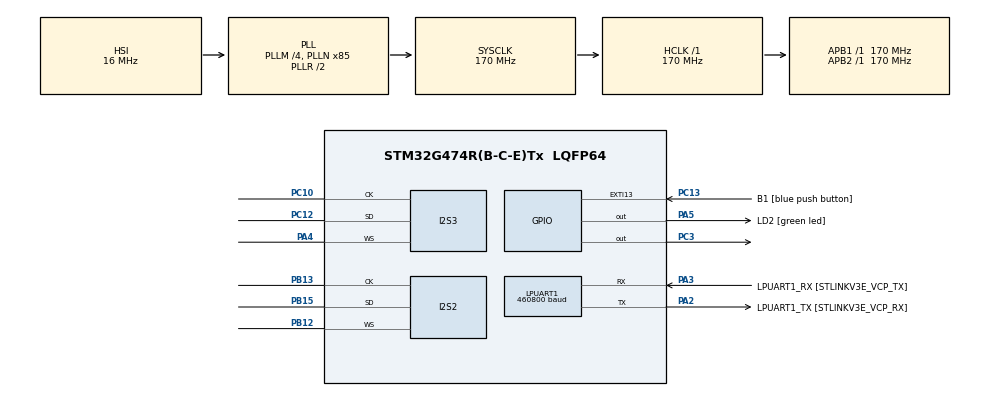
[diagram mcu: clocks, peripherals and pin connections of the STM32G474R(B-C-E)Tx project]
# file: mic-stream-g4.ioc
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Dma.LPUART1_TX.1.Direction=DMA_MEMORY_TO_PERIPH
Dma.LPUART1_TX.1.EventEnable=DISABLE
Dma.LPUART1_TX.1.Instance=DMA1_Channel2
Dma.LPUART1_TX.1.MemDataAlignment=DMA_MDATAALIGN_BYTE
Dma.LPUART1_TX.1.MemInc=DMA_MINC_ENABLE
Dma.LPUART1_TX.1.Mode=DMA_NORMAL
Dma.LPUART1_TX.1.PeriphDataAlignment=DMA_PDATAALIGN_BYTE
Dma.LPUART1_TX.1.PeriphInc=DMA_PINC_DISABLE
Dma.LPUART1_TX.1.Polarity=HAL_DMAMUX_REQ_GEN_RISING
Dma.LPUART1_TX.1.Priority=DMA_PRIORITY_LOW
Dma.LPUART1_TX.1.RequestNumber=1
Dma.LPUART1_TX.1.SignalID=NONE
Dma.LPUART1_TX.1.SyncEnable=DISABLE
Dma.LPUART1_TX.1.SyncPolarity=HAL_DMAMUX_SYNC_NO_EVENT
Dma.LPUART1_TX.1.SyncRequestNumber=1
Dma.LPUART1_TX.1.SyncSignalID=NONE
Dma.Request0=SPI2_RX
Dma.Request1=LPUART1_TX
Dma.Request2=SPI3_TX
Dma.SPI2_RX.0.Direction=DMA_PERIPH_TO_MEMORY
Dma.SPI2_RX.0.EventEnable=DISABLE
Dma.SPI2_RX.0.Instance=DMA1_Channel1
Dma.SPI2_RX.0.MemDataAlignment=DMA_MDATAALIGN_HALFWORD
Dma.SPI2_RX.0.MemInc=DMA_MINC_ENABLE
Dma.SPI2_RX.0.Mode=DMA_CIRCULAR
Dma.SPI2_RX.0.PeriphDataAlignment=DMA_PDATAALIGN_HALFWORD
Dma.SPI2_RX.0.PeriphInc=DMA_PINC_DISABLE
Dma.SPI2_RX.0.Polarity=HAL_DMAMUX_REQ_GEN_RISING
Dma.SPI2_RX.0.Priority=DMA_PRIORITY_LOW
Dma.SPI2_RX.0.RequestNumber=1
Dma.SPI2_RX.0.SignalID=NONE
Dma.SPI2_RX.0.SyncEnable=DISABLE
Dma.SPI2_RX.0.SyncPolarity=HAL_DMAMUX_SYNC_NO_EVENT
Dma.SPI2_RX.0.SyncRequestNumber=1
Dma.SPI2_RX.0.SyncSignalID=NONE
Dma.SPI3_TX.2.Direction=DMA_MEMORY_TO_PERIPH
Dma.SPI3_TX.2.EventEnable=DISABLE
Dma.SPI3_TX.2.Instance=DMA1_Channel3
Dma.SPI3_TX.2.MemDataAlignment=DMA_MDATAALIGN_HALFWORD
Dma.SPI3_TX.2.MemInc=DMA_MINC_ENABLE
Dma.SPI3_TX.2.Mode=DMA_CIRCULAR
Dma.SPI3_TX.2.PeriphDataAlignment=DMA_PDATAALIGN_HALFWORD
Dma.SPI3_TX.2.PeriphInc=DMA_PINC_DISABLE
Dma.SPI3_TX.2.Polarity=HAL_DMAMUX_REQ_GEN_RISING
Dma.SPI3_TX.2.Priority=DMA_PRIORITY_LOW
Dma.SPI3_TX.2.RequestNumber=1
Dma.SPI3_TX.2.SignalID=NONE
Dma.SPI3_TX.2.SyncEnable=DISABLE
Dma.SPI3_TX.2.SyncPolarity=HAL_DMAMUX_SYNC_NO_EVENT
Dma.SPI3_TX.2.SyncRequestNumber=1
Dma.SPI3_TX.2.SyncSignalID=NONE
I2S2.AudioFreq=I2S_AUDIOFREQ_32K
I2S2.CPOL=I2S_CPOL_LOW
I2S2.DataFormat=I2S_DATAFORMAT_16B_EXTENDED
I2S2.ErrorAudioFreq=0.0 %
I2S2.FullDuplexMode=I2S_FULLDUPLEXMODE_DISABLE
I2S2.Instance=SPI$Index
I2S2.Mode=I2S_MODE_MASTER_RX
I2S2.RealAudioFreq=32.003 KHz
I2S2.Standard=I2S_STANDARD_PHILIPS
I2S2.VirtualMode=I2S_MODE_MASTER
I2S3.AudioFreq=I2S_AUDIOFREQ_32K
I2S3.CPOL=I2S_CPOL_LOW
I2S3.DataFormat=I2S_DATAFORMAT_16B_EXTENDED
I2S3.ErrorAudioFreq=0.0 %
I2S3.FullDuplexMode=I2S_FULLDUPLEXMODE_DISABLE
I2S3.Instance=SPI$Index
I2S3.RealAudioFreq=32.003 KHz
I2S3.Standard=I2S_STANDARD_PHILIPS
I2S3.VirtualMode=I2S_MODE_MASTER
LPUART1.BaudRate=460800
LPUART1.Mode=UART_MODE_TX_RX
Mcu.Family=STM32G4
Mcu.Name=STM32G474R(B-C-E)Tx
Mcu.Package=LQFP64
NVIC.DMA1_Channel1_IRQn=true\:0\:0\:false\:false\:true\:false\:true\:true
NVIC.DMA1_Channel2_IRQn=true\:0\:0\:false\:false\:true\:false\:true\:true
NVIC.DMA1_Channel3_IRQn=true\:0\:0\:false\:false\:true\:false\:true\:true
NVIC.EXTI15_10_IRQn=true\:0\:0\:false\:false\:true\:true\:true\:true
NVIC.LPUART1_IRQn=true\:0\:0\:false\:false\:true\:true\:true\:true
NVIC.PriorityGroup=NVIC_PRIORITYGROUP_4
PA13.GPIO_Label=T_SWDIO
PA13.Signal=SYS_JTMS-SWDIO
PA14.GPIO_Label=T_SWCLK
PA14.Signal=SYS_JTCK-SWCLK
PA2.GPIO_Label=LPUART1_TX [STLINKV3E_VCP_RX]
PA2.Mode=Asynchronous
PA2.Signal=LPUART1_TX
PA3.GPIO_Label=LPUART1_RX [STLINKV3E_VCP_TX]
PA3.Mode=Asynchronous
PA3.Signal=LPUART1_RX
PA4.Mode=Half_Duplex_Master
PA4.Signal=I2S3_WS
PA5.GPIO_Label=LD2 [green led]
PA5.Signal=GPIO_Output
PB12.Mode=Half_Duplex_Master
PB12.Signal=I2S2_WS
PB13.Mode=Half_Duplex_Master
PB13.Signal=I2S2_CK
PB15.Mode=Half_Duplex_Master
PB15.Signal=I2S2_SD
PB3.GPIO_Label=T_SWO
PB3.Signal=SYS_JTDO-SWO
PC10.Mode=Half_Duplex_Master
PC10.Signal=I2S3_CK
PC12.Mode=Half_Duplex_Master
PC12.Signal=I2S3_SD
PC13.GPIO_Label=B1 [blue push button]
PC13.Signal=GPXTI13
PC14-OSC32_IN.Signal=RCC_OSC32_IN
PC15-OSC32_OUT.Signal=RCC_OSC32_OUT
PC3.Signal=GPIO_Output
PF0-OSC_IN.Signal=RCC_OSC_IN
PF1-OSC_OUT.Signal=RCC_OSC_OUT
ProjectManager.HeapSize=0x200
ProjectManager.StackSize=0x400
ProjectManager.TargetToolchain=STM32CubeIDE
RCC.ADC12Freq_Value=170000000
RCC.ADC345Freq_Value=170000000
RCC.AHBFreq_Value=170000000
RCC.APB1Freq_Value=170000000
RCC.APB1TimFreq_Value=170000000
RCC.APB2Freq_Value=170000000
RCC.APB2TimFreq_Value=170000000
RCC.CortexFreq_Value=170000000
RCC.EXTERNAL_CLOCK_VALUE=12288000
RCC.HCLKFreq_Value=170000000
RCC.HSE_VALUE=24000000
RCC.HSI48_VALUE=48000000
RCC.HSI_VALUE=16000000
RCC.LSE_VALUE=32768
RCC.PLLM=RCC_PLLM_DIV4
RCC.PLLN=85
RCC.RTCClockSelection=RCC_RTCCLKSOURCE_LSE
RCC.SYSCLKFreq_VALUE=170000000
RCC.SYSCLKSource=RCC_SYSCLKSOURCE_PLLCLK
RCC.USBFreq_Value=170000000
RCC.VCOOutputFreq_Value=340000000
STMicroelectronics.X-CUBE-ALGOBUILD.1.3.0.LibraryCcDSPOoLibraryJjDSPOoLibrary=true
VP_STMicroelectronics.X-CUBE-ALGOBUILD_VS_DSPOoLibraryJjLibrary_1.3.0_1.3.0.Mode=DSPOoLibraryJjLibrary
VP_SYS_VS_DBSignals.Mode=DisableDeadBatterySignals
board=NUCLEO-G474RE

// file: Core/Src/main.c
/* USER CODE BEGIN Header */
/**
  ******************************************************************************
  * @file           : main.c
  * @brief          : Main program body
  ******************************************************************************
  * @attention
  *
  * Copyright (c) 2023 STMicroelectronics.
  * All rights reserved.
  *
  * This software is licensed under terms that can be found in the LICENSE file
  * in the root directory of this software component.
  * If no LICENSE file comes with this software, it is provided AS-IS.
  *
  ******************************************************************************
  */
/* USER CODE END Header */
#include "main.h"

/* USER CODE BEGIN Includes */
#define ARM_MATH_CM4
#include "stdio.h"
#include "arm_math.h"
/* USER CODE END Includes */

/* USER CODE BEGIN PD */
#define SAMPLE_SIZE 1280
#define F_SAMPLE 48295
#define FREQUENCY_PARTITIONS SAMPLE_SIZE/16
/* USER CODE END PD */

I2S_HandleTypeDef hi2s2;
I2S_HandleTypeDef hi2s3;
DMA_HandleTypeDef hdma_spi2_rx;
DMA_HandleTypeDef hdma_spi3_tx;

UART_HandleTypeDef hlpuart1;
DMA_HandleTypeDef hdma_lpuart1_tx;

/* USER CODE BEGIN PV */
int16_t i2s_rxBuf[SAMPLE_SIZE];
uint16_t i2s_txBuf[SAMPLE_SIZE];

uint8_t streamBuf[SAMPLE_SIZE/2];
int16_t dataBuf[SAMPLE_SIZE/4];

float32_t fft_in_buf[SAMPLE_SIZE/8];
float32_t fft_out_buf[SAMPLE_SIZE/8];
uint8_t data_out_buf[12]; //10 frequency bins, 1 start byte, 1 stop byte
arm_rfft_fast_instance_f32 fft_handler;

volatile uint8_t rxBuf_status = 0; // 0 = empty, 1 = half, 2 = full
volatile int debug_sample_i2s;
/* USER CODE END PV */

void SystemClock_Config(void);
static void MX_GPIO_Init(void);
static void MX_DMA_Init(void);
static void MX_I2S2_Init(void);
static void MX_LPUART1_UART_Init(void);
static void MX_I2S3_Init(void);
/* USER CODE BEGIN PFP */
float32_t complexABS(float32_t real, float32_t imag);
void DoFFT();
/* USER CODE END PFP */

int main(void)
{

  /* MCU Configuration--------------------------------------------------------*/

  /* Reset of all peripherals, Initializes the Flash interface and the Systick. */
  HAL_Init();

  /* Configure the system clock */
  SystemClock_Config();

  /* Initialize all configured peripherals */
  MX_GPIO_Init();
  MX_DMA_Init();
  MX_I2S2_Init();
  MX_LPUART1_UART_Init();
  MX_I2S3_Init();
  /* USER CODE BEGIN 2 */
  HAL_I2S_Receive_DMA(&hi2s2, (uint16_t *)i2s_rxBuf, SAMPLE_SIZE);
  HAL_I2S_Transmit_DMA(&hi2s3, (uint16_t *)i2s_txBuf, SAMPLE_SIZE);
  arm_rfft_fast_init_f32(&fft_handler, SAMPLE_SIZE/8);
  uint8_t prev_rxBuf_status = 0;
  /* USER CODE END 2 */

  /* Infinite loop */
  while (1)
  {

    /* USER CODE BEGIN 3 */
	  int streamBuf_ptr = 0;
	  int dataBuf_ptr = 0;

	  if(rxBuf_status == 1){
//		  if(prev_rxBuf_status == 1) exit(1); // DEBUG DOUBLING
//		  printf("rxBuf half\n");  // DEBUG PRINTMSG

		  /* READ IN MICROPHONE DATA */
		  for(int i = 0; i < SAMPLE_SIZE/2; i = i+2){
			    i2s_txBuf[i] = i2s_rxBuf[i]; // DEBUG DIRECT DATA TRANSFER
			  	streamBuf[streamBuf_ptr] = (i2s_rxBuf[i] >> 8) & 0xff;
				streamBuf[streamBuf_ptr + 1] = i2s_rxBuf[i] & 0xff;
				dataBuf[dataBuf_ptr] = i2s_rxBuf[i];
		  		++dataBuf_ptr;
		  		streamBuf_ptr = streamBuf_ptr + 2;
//		  		debug_sample_i2s = i2s_rxBuf[i]; // DEBUG READ DATA
		  }

		  /* SEND MICROPHONE DATA OVER SERIAL FOR ANALYSIS */
//		  HAL_UART_Transmit_DMA(&hlpuart1, (uint8_t *)streamBuf, SAMPLE_SIZE/2);

		  /* SET FLAGS */
		  rxBuf_status = 0;
		  prev_rxBuf_status = 1;
	  }
	  else if (rxBuf_status == 2){
//		  if(prev_rxBuf_status == 2) exit(1); // DEBUG DOUBLING
//		  printf("rxBuf full\n"); // DEBUG PRINTMSG

		  /* READ IN MICROPHONE DATA */
		  for(int i = SAMPLE_SIZE/2; i < SAMPLE_SIZE; i = i+2){
			  	i2s_txBuf[i] = i2s_rxBuf[i]; // DEBUG DIRECT DATA TRANSFER
			    streamBuf[streamBuf_ptr] = (i2s_rxBuf[i] >> 8) & 0xff;
			    streamBuf[streamBuf_ptr + 1] = i2s_rxBuf[i] & 0xff;
			    dataBuf[dataBuf_ptr] = i2s_rxBuf[i];
				++dataBuf_ptr;
				streamBuf_ptr = streamBuf_ptr + 2;
//				debug_sample_i2s = i2s_rxBuf[i]; // DEBUG READ DATA
		  }

		  /* SEND MICROPHONE DATA OVER SERIAL FOR ANALYSIS */
//		  HAL_UART_Transmit_DMA(&hlpuart1, (uint8_t *)streamBuf, SAMPLE_SIZE/2);

		  /* SET FLAGS */
		  rxBuf_status = 0;
		  prev_rxBuf_status = 2;
	  }
  }
  /* USER CODE END 3 */
}

void SystemClock_Config(void)
{
  RCC_OscInitTypeDef RCC_OscInitStruct = {0};
  RCC_ClkInitTypeDef RCC_ClkInitStruct = {0};

  /** Configure the main internal regulator output voltage
  */
  HAL_PWREx_ControlVoltageScaling(PWR_REGULATOR_VOLTAGE_SCALE1_BOOST);

  /** Initializes the RCC Oscillators according to the specified parameters
  * in the RCC_OscInitTypeDef structure.
  */
  RCC_OscInitStruct.OscillatorType = RCC_OSCILLATORTYPE_HSI;
  RCC_OscInitStruct.HSIState = RCC_HSI_ON;
  RCC_OscInitStruct.HSICalibrationValue = RCC_HSICALIBRATION_DEFAULT;
  RCC_OscInitStruct.PLL.PLLState = RCC_PLL_ON;
  RCC_OscInitStruct.PLL.PLLSource = RCC_PLLSOURCE_HSI;
  RCC_OscInitStruct.PLL.PLLM = RCC_PLLM_DIV4;
  RCC_OscInitStruct.PLL.PLLN = 85;
  RCC_OscInitStruct.PLL.PLLP = RCC_PLLP_DIV2;
  RCC_OscInitStruct.PLL.PLLQ = RCC_PLLQ_DIV2;
  RCC_OscInitStruct.PLL.PLLR = RCC_PLLR_DIV2;
  if (HAL_RCC_OscConfig(&RCC_OscInitStruct) != HAL_OK)
  {
    Error_Handler();
  }

  /** Initializes the CPU, AHB and APB buses clocks
  */
  RCC_ClkInitStruct.ClockType = RCC_CLOCKTYPE_HCLK|RCC_CLOCKTYPE_SYSCLK
                              |RCC_CLOCKTYPE_PCLK1|RCC_CLOCKTYPE_PCLK2;
  RCC_ClkInitStruct.SYSCLKSource = RCC_SYSCLKSOURCE_PLLCLK;
  RCC_ClkInitStruct.AHBCLKDivider = RCC_SYSCLK_DIV1;
  RCC_ClkInitStruct.APB1CLKDivider = RCC_HCLK_DIV1;
  RCC_ClkInitStruct.APB2CLKDivider = RCC_HCLK_DIV1;

  if (HAL_RCC_ClockConfig(&RCC_ClkInitStruct, FLASH_LATENCY_4) != HAL_OK)
  {
    Error_Handler();
  }
}

static void MX_I2S2_Init(void)
{

  hi2s2.Instance = SPI2;
  hi2s2.Init.Mode = I2S_MODE_MASTER_RX;
  hi2s2.Init.Standard = I2S_STANDARD_PHILIPS;
  hi2s2.Init.DataFormat = I2S_DATAFORMAT_16B_EXTENDED;
  hi2s2.Init.MCLKOutput = I2S_MCLKOUTPUT_DISABLE;
  hi2s2.Init.AudioFreq = I2S_AUDIOFREQ_32K;
  hi2s2.Init.CPOL = I2S_CPOL_LOW;
  if (HAL_I2S_Init(&hi2s2) != HAL_OK)
  {
    Error_Handler();
  }

}

static void MX_I2S3_Init(void)
{

  hi2s3.Instance = SPI3;
  hi2s3.Init.Mode = I2S_MODE_MASTER_TX;
  hi2s3.Init.Standard = I2S_STANDARD_PHILIPS;
  hi2s3.Init.DataFormat = I2S_DATAFORMAT_16B_EXTENDED;
  hi2s3.Init.MCLKOutput = I2S_MCLKOUTPUT_DISABLE;
  hi2s3.Init.AudioFreq = I2S_AUDIOFREQ_32K;
  hi2s3.Init.CPOL = I2S_CPOL_LOW;
  if (HAL_I2S_Init(&hi2s3) != HAL_OK)
  {
    Error_Handler();
  }

}

static void MX_LPUART1_UART_Init(void)
{

  hlpuart1.Instance = LPUART1;
  hlpuart1.Init.BaudRate = 460800;
  hlpuart1.Init.WordLength = UART_WORDLENGTH_8B;
  hlpuart1.Init.StopBits = UART_STOPBITS_1;
  hlpuart1.Init.Parity = UART_PARITY_NONE;
  hlpuart1.Init.Mode = UART_MODE_TX_RX;
  hlpuart1.Init.HwFlowCtl = UART_HWCONTROL_NONE;
  hlpuart1.Init.OneBitSampling = UART_ONE_BIT_SAMPLE_DISABLE;
  hlpuart1.Init.ClockPrescaler = UART_PRESCALER_DIV1;
  hlpuart1.AdvancedInit.AdvFeatureInit = UART_ADVFEATURE_NO_INIT;
  if (HAL_UART_Init(&hlpuart1) != HAL_OK)
  {
    Error_Handler();
  }
  if (HAL_UARTEx_SetTxFifoThreshold(&hlpuart1, UART_TXFIFO_THRESHOLD_1_8) != HAL_OK)
  {
    Error_Handler();
  }
  if (HAL_UARTEx_SetRxFifoThreshold(&hlpuart1, UART_RXFIFO_THRESHOLD_1_8) != HAL_OK)
  {
    Error_Handler();
  }
  if (HAL_UARTEx_DisableFifoMode(&hlpuart1) != HAL_OK)
  {
    Error_Handler();
  }

}

static void MX_DMA_Init(void)
{

  /* DMA controller clock enable */
  __HAL_RCC_DMAMUX1_CLK_ENABLE();
  __HAL_RCC_DMA1_CLK_ENABLE();

  /* DMA interrupt init */
  /* DMA1_Channel1_IRQn interrupt configuration */
  HAL_NVIC_SetPriority(DMA1_Channel1_IRQn, 0, 0);
  HAL_NVIC_EnableIRQ(DMA1_Channel1_IRQn);
  /* DMA1_Channel2_IRQn interrupt configuration */
  HAL_NVIC_SetPriority(DMA1_Channel2_IRQn, 0, 0);
  HAL_NVIC_EnableIRQ(DMA1_Channel2_IRQn);
  /* DMA1_Channel3_IRQn interrupt configuration */
  HAL_NVIC_SetPriority(DMA1_Channel3_IRQn, 0, 0);
  HAL_NVIC_EnableIRQ(DMA1_Channel3_IRQn);

}

static void MX_GPIO_Init(void)
{
  GPIO_InitTypeDef GPIO_InitStruct = {0};

  /* GPIO Ports Clock Enable */
  __HAL_RCC_GPIOC_CLK_ENABLE();
  __HAL_RCC_GPIOF_CLK_ENABLE();
  __HAL_RCC_GPIOA_CLK_ENABLE();
  __HAL_RCC_GPIOB_CLK_ENABLE();

  /*Configure GPIO pin Output Level */
  HAL_GPIO_WritePin(GPIOC, GPIO_PIN_3, GPIO_PIN_RESET);

  /*Configure GPIO pin Output Level */
  HAL_GPIO_WritePin(LD2_GPIO_Port, LD2_Pin, GPIO_PIN_RESET);

  /*Configure GPIO pin : B1_Pin */
  GPIO_InitStruct.Pin = B1_Pin;
  GPIO_InitStruct.Mode = GPIO_MODE_IT_RISING;
  GPIO_InitStruct.Pull = GPIO_NOPULL;
  HAL_GPIO_Init(B1_GPIO_Port, &GPIO_InitStruct);

  /*Configure GPIO pin : PC3 */
  GPIO_InitStruct.Pin = GPIO_PIN_3;
  GPIO_InitStruct.Mode = GPIO_MODE_OUTPUT_PP;
  GPIO_InitStruct.Pull = GPIO_NOPULL;
  GPIO_InitStruct.Speed = GPIO_SPEED_FREQ_LOW;
  HAL_GPIO_Init(GPIOC, &GPIO_InitStruct);

  /*Configure GPIO pin : LD2_Pin */
  GPIO_InitStruct.Pin = LD2_Pin;
  GPIO_InitStruct.Mode = GPIO_MODE_OUTPUT_PP;
  GPIO_InitStruct.Pull = GPIO_NOPULL;
  GPIO_InitStruct.Speed = GPIO_SPEED_FREQ_LOW;
  HAL_GPIO_Init(LD2_GPIO_Port, &GPIO_InitStruct);

  /* EXTI interrupt init*/
  HAL_NVIC_SetPriority(EXTI15_10_IRQn, 0, 0);
  HAL_NVIC_EnableIRQ(EXTI15_10_IRQn);

}

/* USER CODE BEGIN 4 */

float32_t complexABS(float32_t real, float32_t imag){
	return sqrtf(real*real+imag*imag);
}

void DoFFT(){
	arm_rfft_fast_f32(&fft_handler, fft_in_buf, fft_out_buf, 0);

	int freqs[FREQUENCY_PARTITIONS];
	int freqptr = 0;
	int offset = 150; // noise offset

	for(int i = 0; i < SAMPLE_SIZE/8; i = i+2){
	  freqs[freqptr] = (int)(20*log10f(complexABS(fft_out_buf[i], fft_out_buf[i+1]))) - offset;
	  if(freqs[freqptr] < 0) freqs[freqptr]=0;
	  ++freqptr;
	}

	data_out_buf[0] = 0xff; // start byte
	data_out_buf[1] = (uint8_t)freqs[1]; // 31 Hz
	data_out_buf[2] = (uint8_t)freqs[3]; // 63 Hz
	data_out_buf[3] = (uint8_t)freqs[5]; // 125 Hz
	data_out_buf[4] = (uint8_t)freqs[11]; // 250 Hz
	data_out_buf[5] = (uint8_t)freqs[22]; // 500 Hz
	data_out_buf[6] = (uint8_t)freqs[44]; // 1 kHz
	data_out_buf[7] = (uint8_t)freqs[96]; // 2.2 kHz
	data_out_buf[8] = (uint8_t)freqs[197]; // 4.5 kHz
	data_out_buf[9] = (uint8_t)freqs[393]; // 9 kHz
	data_out_buf[10] = (uint8_t)freqs[655]; // 15 kHz
	data_out_buf[11] = 0xdd; // stop byte

	HAL_UART_Transmit_DMA(&hlpuart1, &data_out_buf[0], 12);
}

void HAL_I2S_RxHalfCpltCallback(I2S_HandleTypeDef *hi2s){
//	 printf("half callback\n");  // DEBUG PRINTMSG
	rxBuf_status = 1;
//	HAL_GPIO_WritePin(GPIOC, GPIO_PIN_3, GPIO_PIN_SET); // DEBUG TIMING
}

void HAL_I2S_RxCpltCallback(I2S_HandleTypeDef *hi2s){
//	printf("full callback\n");  // DEBUG PRINTMSG
	rxBuf_status = 2;
//	HAL_GPIO_WritePin(GPIOC, GPIO_PIN_3, GPIO_PIN_SET); // DEBUG TIMING
}

// NOTE: Can't do both UART and SWV printf at once

/* PRINTF UART SETUP*/
#ifdef __GNUC__
#define PUTCHAR_PROTOTYPE int __io_putchar(int ch)
#else
  #define PUTCHAR_PROTOTYPE int fputc(int ch, FILE *f)
#endif /* __GNUC__ */
PUTCHAR_PROTOTYPE
{
  HAL_UART_Transmit(&hlpuart1, (uint8_t *)&ch, 1, 0xFFFF);
  return ch;
}

/* PRINTF SWV SETUP*/
//int _write(int file, char *ptr, int len)
//{
//  (void)file;
//  int DataIdx;
//
//  for (DataIdx = 0; DataIdx < len; DataIdx++)
//  {
//    ITM_SendChar(*ptr++);
//  }
//  return len;
//}
/* USER CODE END 4 */

void Error_Handler(void)
{
  __disable_irq();
  while (1)
  {
  }
}
